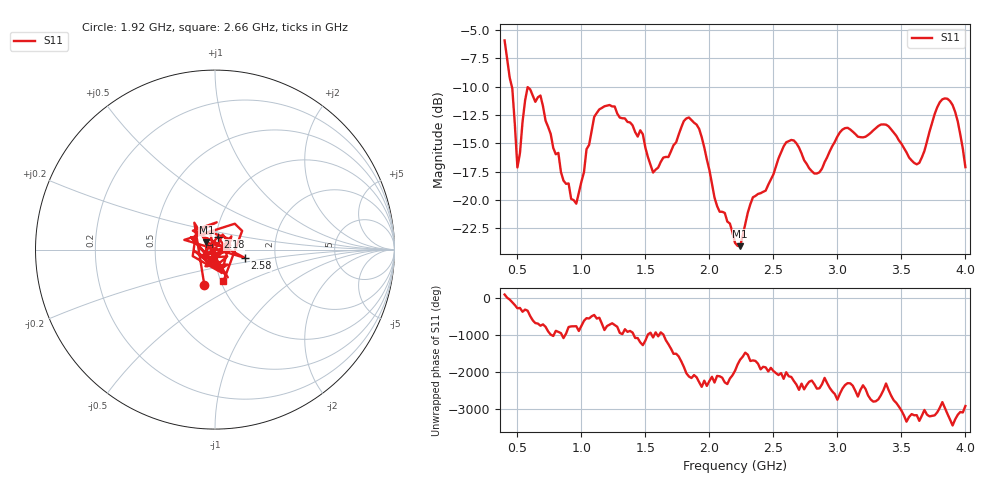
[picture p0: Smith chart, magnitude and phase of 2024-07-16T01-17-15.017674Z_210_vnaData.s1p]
!Created with skrf (http://scikit-rf.org).
# Hz S RI R 50.0
!freq ReS11 ImS11
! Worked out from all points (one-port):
!   181 points, 400 MHz to 4 GHz, reference 50 ohm
!   lowest |S11| = -24.1 dB at 2.24 GHz (marker M1), VSWR 1.13, Z = 45.3 + j3.62 ohm
!   |S11| at or under -10 dB: 456.6 MHz to end of sweep
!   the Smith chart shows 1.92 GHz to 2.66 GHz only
!   S11 on the Smith chart (normalised r, x): 1.92 GHz: 0.82, -0.34; 2.18 GHz: 1.02, +0.14; 2.58 GHz: 1.39, -0.13; 2.66 GHz: 1.03, -0.38
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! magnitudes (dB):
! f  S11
! 400 MHz  -5.9
! 460 MHz  -10.2
! 500 MHz  -17.1
! 580 MHz  -10.1
! 680 MHz  -10.8
! 860 MHz  -18.3
! 960 MHz  -20.3
! 1.1 GHz  -12.7
! 1.3 GHz  -12.7
! 1.48 GHz  -14.2
! 1.56 GHz  -17.6
! 1.76 GHz  -14.2
! 1.92 GHz  -13.7
! 2.06 GHz  -20.5
! 2.18 GHz  -22.9
! 2.2 GHz  -23.8
! 2.24 GHz  -24.1
! 2.34 GHz  -19.8
! 2.58 GHz  -15.3
! 2.66 GHz  -14.8
! 2.84 GHz  -17.7
! 3.1 GHz  -13.8
! 3.38 GHz  -13.4
! 3.56 GHz  -16.3
! 3.64 GHz  -16.7
! 3.86 GHz  -11.1
! 3.94 GHz  -13.1
! 4 GHz  -17.1
